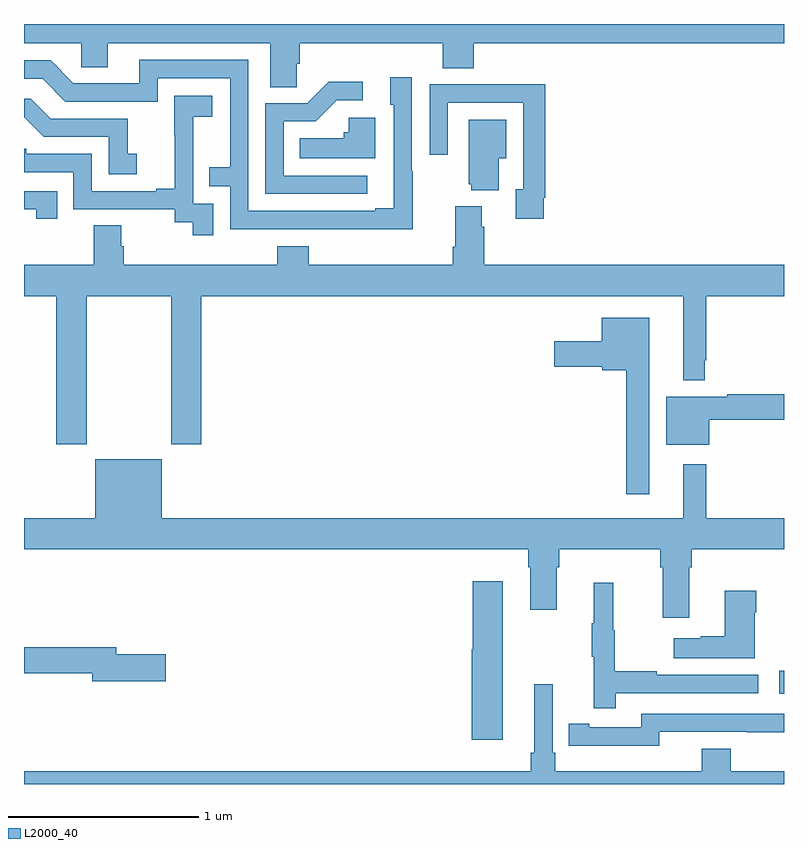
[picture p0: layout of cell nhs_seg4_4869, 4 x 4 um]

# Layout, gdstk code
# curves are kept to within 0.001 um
import gdstk
lib = gdstk.Library(unit=1e-6, precision=1e-09)
def R(c, l, rs):  # rectangles x0, y0, x1, y1
    for r in rs: c.add(gdstk.rectangle(r[:2], r[2:], *l))
def P(c, l, *ps):  # polygons
    for p in ps: c.add(gdstk.Polygon(p, *l))
L2000_40 = (2000, 40)

nhs_seg4_4869 = lib.new_cell('nhs_seg4_4869')
R(nhs_seg4_4869, L2000_40, [(376.974,813.375,377,813.495)])
P(nhs_seg4_4869, L2000_40, [(374.436,816.691),(374.45,816.691),(374.45,816.8),(375.203,816.8),(375.203,816.667),(375.368,816.667),(375.368,816.8),(377,816.8),(377,816.9),(373,816.9),(373,816.8),(373.302,816.8),(373.302,816.673),(373.441,816.673),(373.441,816.8),(374.297,816.8),(374.297,816.568),(374.436,816.568)],
  [(375.045,816.125),(375.042,816.125),(375.042,816.619),(374.927,816.619),(374.927,816.474),(374.946,816.474),(374.946,815.929),(374.849,815.929),(374.849,815.916),(374.181,815.916),(374.181,816.711),(373.607,816.711),(373.607,816.588),(373.26,816.588),(373.14,816.708),(373,816.708),(373,816.612),(373.098,816.612),(373.218,816.492),(373.704,816.492),(373.704,816.615),(374.085,816.615),(374.085,816.146),(373.975,816.146),(373.975,816.045),(374.085,816.045),(374.085,815.82),(375.045,815.819)],
  [(374.806,816.102),(374.367,816.102),(374.367,816.387),(374.536,816.387),(374.647,816.498),(374.782,816.498),(374.782,816.596),(374.603,816.596),(374.49,816.483),(374.271,816.483),(374.271,816.006),(374.806,816.006)],
  [(375.736,815.986),(375.743,815.986),(375.743,816.584),(375.451,816.584),(375.451,816.582),(375.135,816.582),(375.135,816.213),(375.231,816.213),(375.231,816.486),(375.627,816.486),(375.627,816.03),(375.587,816.03),(375.587,815.874),(375.736,815.874)],
  [(373.995,815.955),(373.89,815.955),(373.89,816.185),(373.892,816.185),(373.892,816.413),(373.99,816.413),(373.99,816.523),(373.792,816.523),(373.792,816.317),(373.793,816.317),(373.793,816.034),(373.697,816.034),(373.697,816.021),(373.356,816.021),(373.356,816.216),(373.011,816.216),(373.011,816.243),(373,816.243),(373,816.12),(373.26,816.12),(373.26,815.925),(373.794,815.925),(373.794,815.857),(373.887,815.857),(373.887,815.787),(373.995,815.787)],
  [(373.594,816.217),(373.545,816.217),(373.545,816.402),(373.141,816.402),(373.036,816.507),(373,816.507),(373,816.41),(373.104,816.306),(373.446,816.306),(373.446,816.108),(373.594,816.108)],
  [(374.848,816.406),(374.709,816.406),(374.709,816.33),(374.683,816.33),(374.683,816.298),(374.452,816.298),(374.452,816.194),(374.848,816.194)],
  [(375.499,816.194),(375.538,816.194),(375.538,816.397),(375.341,816.397),(375.341,816.057),(375.353,816.057),(375.353,816.026),(375.499,816.026)],
  [(373.175,816.021),(373,816.021),(373,815.925),(373.064,815.925),(373.064,815.874),(373.175,815.874)],
  [(373.329,815.468),(373.774,815.468),(373.774,814.689),(373.934,814.689),(373.934,815.468),(376.469,815.468),(376.469,815.024),(376.584,815.024),(376.584,815.131),(376.591,815.131),(376.591,815.468),(377,815.468),(377,815.632),(375.422,815.632),(375.422,815.834),(375.409,815.834),(375.409,815.941),(375.269,815.941),(375.269,815.728),(375.257,815.728),(375.257,815.632),(374.498,815.632),(374.498,815.731),(374.333,815.731),(374.333,815.632),(373.526,815.632),(373.526,815.73),(373.513,815.73),(373.513,815.84),(373.366,815.84),(373.366,815.632),(373,815.632),(373,815.468),(373.169,815.468),(373.169,814.689),(373.329,814.689)],
  [(376.291,815.353),(376.04,815.353),(376.04,815.23),(375.792,815.23),(375.792,815.096),(376.044,815.096),(376.044,815.078),(376.17,815.078),(376.17,814.425),(376.291,814.425)],
  [(376.606,814.816),(377,814.816),(377,814.952),(376.702,814.952),(376.702,814.939),(376.379,814.939),(376.379,814.685),(376.606,814.685)],
  [(376.501,814.04),(376.514,814.04),(376.514,814.136),(377,814.136),(377,814.3),(376.591,814.3),(376.591,814.582),(376.469,814.582),(376.469,814.3),(373.726,814.3),(373.726,814.609),(373.376,814.609),(373.376,814.3),(373,814.3),(373,814.136),(375.653,814.136),(375.653,814.04),(375.665,814.04),(375.665,813.816),(375.805,813.816),(375.805,814.04),(375.818,814.04),(375.818,814.136),(376.349,814.136),(376.349,814.04),(376.361,814.04),(376.361,813.774),(376.501,813.774)],
  [(375.52,813.967),(375.362,813.967),(375.362,813.609),(375.356,813.609),(375.356,813.132),(375.52,813.132)],
  [(376.115,813.378),(376.864,813.378),(376.864,813.474),(376.331,813.474),(376.331,813.494),(376.108,813.494),(376.108,813.708),(376.1,813.708),(376.1,813.958),(375.998,813.958),(375.998,813.745),(375.987,813.745),(375.987,813.571),(375.998,813.571),(375.998,813.3),(376.115,813.3)],
  [(376.846,813.803),(376.854,813.803),(376.854,813.916),(376.688,813.916),(376.688,813.677),(376.562,813.677),(376.562,813.667),(376.419,813.667),(376.419,813.563),(376.846,813.563)],
  [(373.747,813.584),(373.486,813.584),(373.486,813.62),(373,813.62),(373,813.484),(373.358,813.484),(373.358,813.442),(373.747,813.442)],
  [(377,812.968),(376.721,812.968),(376.721,813.085),(376.568,813.085),(376.568,812.968),(375.797,812.968),(375.797,813.064),(375.783,813.064),(375.783,813.424),(375.686,813.424),(375.686,813.064),(375.667,813.064),(375.667,812.968),(373,812.968),(373,812.9),(377,812.9)],
  [(376.344,813.174),(376.804,813.174),(376.804,813.173),(377,813.173),(377,813.27),(376.248,813.27),(376.248,813.198),(375.976,813.198),(375.976,813.218),(375.868,813.218),(375.868,813.102),(375.976,813.102),(375.976,813.101),(376.344,813.101)])

lib.write_gds('nhs_seg4_4869.gds')
